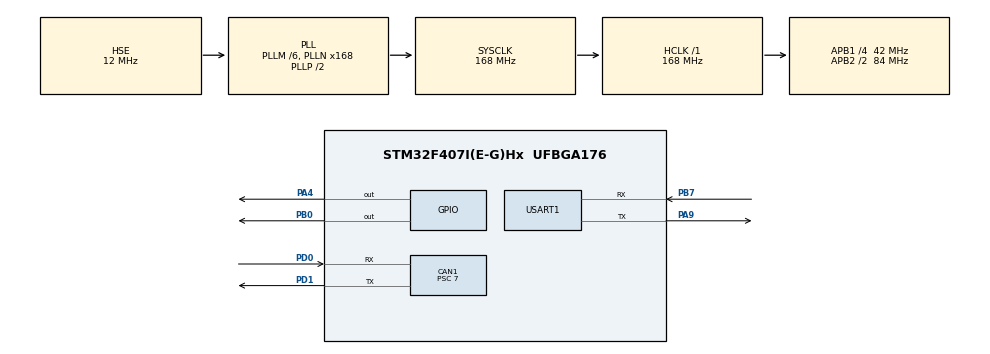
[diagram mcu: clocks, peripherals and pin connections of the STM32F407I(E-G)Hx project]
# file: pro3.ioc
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CAN1.BS1=CAN_BS1_2TQ
CAN1.BS2=CAN_BS2_3TQ
CAN1.CalculateBaudRate=999999
CAN1.CalculateTimeBit=1000
CAN1.CalculateTimeQuantum=166.66666666666669
CAN1.Prescaler=7
Mcu.Family=STM32F4
Mcu.Name=STM32F407I(E-G)Hx
Mcu.Package=UFBGA176
NVIC.CAN1_RX0_IRQn=true\:0\:0\:false\:false\:true\:true\:true\:true
NVIC.PriorityGroup=NVIC_PRIORITYGROUP_4
NVIC.USART1_IRQn=true\:0\:0\:false\:false\:true\:true\:true\:true
PA13.Mode=Serial_Wire
PA13.Signal=SYS_JTMS-SWDIO
PA14.Mode=Serial_Wire
PA14.Signal=SYS_JTCK-SWCLK
PA4.GPIO_ModeDefaultOutputPP=GPIO_MODE_OUTPUT_PP
PA4.GPIO_PuPd=GPIO_NOPULL
PA4.PinState=GPIO_PIN_SET
PA4.Signal=GPIO_Output
PA9.Mode=Asynchronous
PA9.Signal=USART1_TX
PB0.PinState=GPIO_PIN_SET
PB0.Signal=GPIO_Output
PB7.Mode=Asynchronous
PB7.Signal=USART1_RX
PD0.Mode=CAN_Activate
PD0.Signal=CAN1_RX
PD1.Mode=CAN_Activate
PD1.Signal=CAN1_TX
PH0-OSC_IN.Mode=HSE-External-Oscillator
PH0-OSC_IN.Signal=RCC_OSC_IN
PH1-OSC_OUT.Mode=HSE-External-Oscillator
PH1-OSC_OUT.Signal=RCC_OSC_OUT
ProjectManager.HeapSize=0x200
ProjectManager.StackSize=0x400
ProjectManager.TargetToolchain=MDK-ARM V5.32
RCC.48MHZClocksFreq_Value=84000000
RCC.AHBFreq_Value=168000000
RCC.APB1CLKDivider=RCC_HCLK_DIV4
RCC.APB1Freq_Value=42000000
RCC.APB1TimFreq_Value=84000000
RCC.APB2CLKDivider=RCC_HCLK_DIV2
RCC.APB2Freq_Value=84000000
RCC.APB2TimFreq_Value=168000000
RCC.CortexFreq_Value=168000000
RCC.HCLKFreq_Value=168000000
RCC.HSE_VALUE=12000000
RCC.HSI_VALUE=16000000
RCC.LSE_VALUE=32768
RCC.PLLM=6
RCC.PLLN=168
RCC.PLLSourceVirtual=RCC_PLLSOURCE_HSE
RCC.SYSCLKFreq_VALUE=168000000
RCC.SYSCLKSource=RCC_SYSCLKSOURCE_PLLCLK
RCC.VCOOutputFreq_Value=336000000
USART1.VirtualMode=VM_ASYNC
board=custom

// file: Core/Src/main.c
/* USER CODE BEGIN Header */
/**
  ******************************************************************************
  * @file           : main.c
  * @brief          : Main program body
  ******************************************************************************
  * @attention
  *
  * Copyright (c) 2025 STMicroelectronics.
  * All rights reserved.
  *
  * This software is licensed under terms that can be found in the LICENSE file
  * in the root directory of this software component.
  * If no LICENSE file comes with this software, it is provided AS-IS.
  *
  ******************************************************************************
  */
/* USER CODE END Header */
#include "main.h"

/* USER CODE BEGIN Includes */
#include <string.h>
#include <stdio.h>
#include "MotorRM3508Drive.h"
#include "RM3508_motor_contral.h"
/* USER CODE END Includes */

CAN_HandleTypeDef hcan1;

UART_HandleTypeDef huart1;

/* USER CODE BEGIN PV */
/*
CAN_TxHeaderTypeDef tx_header_motor;
uint8_t tx_data[8] = {0};
uint32_t tx_mailbox;
*/
uint16_t torque=0;
uint8_t rx_data;
uint16_t speed = 100;
float angle=0.0f;
char usart_send[100]="66";
/*
CAN_RxHeaderTypeDef rx_header_motor[4]={0};
uint8_t rx_date[8];
struct rx_date_motor_struct{float angle;uint16_t rpm;uint16_t current;uint8_t temperture;} motor_rx_date;
CAN_FilterTypeDef sFilterConfig;
*/
/* USER CODE END PV */

void SystemClock_Config(void);
static void MX_GPIO_Init(void);
static void MX_CAN1_Init(void);
static void MX_USART1_UART_Init(void);

/* USER CODE BEGIN 0 */
/*
void HAL_CAN_RxFifo0MsgPendingCallback(CAN_HandleTypeDef *hcan)
{
	uint8_t rx_date[8];
	if(HAL_CAN_GetRxMessage(hcan,CAN_RX_FIFO0,&rx_header_motor[0],rx_date)==HAL_OK){
		motor_rx_date.angle = ((rx_date[0]<<8) | rx_date[1])/8191.0f;
		motor_rx_date.current= (rx_date[2]<<8) | rx_date[3];
		motor_rx_date.rpm= (rx_date[4]<<8) | rx_date[5];
		motor_rx_date.temperture= rx_date[6];
		char usart_send[100];
		sprintf(usart_send,"%.2f,%d,%d,%d\n",motor_rx_date.angle,motor_rx_date.rpm,motor_rx_date.current,motor_rx_date.temperture);
		HAL_UART_Transmit(&huart1,(uint8_t*)usart_send,strlen(usart_send),100);
	}
}
*/
void motor_rm3508_MSgPendingCallback(struct rx_date_motor_rm3508_struct rx_date,CAN_HandleTypeDef *hcan)
{

		sprintf(usart_send,"%.2f,%d,%d,%d\n",rx_date.angle,rx_date.rpm,rx_date.current,rx_date.temperture);

}

void HAL_UART_RxCpltCallback(UART_HandleTypeDef *huart)
{
  // Process the received data
  if (huart->Instance == USART1) {
    /*
    float rev_date=rx_data[0]<<24 | rx_data[1]<<16 | rx_data[2]<<8 | rx_data[3];
    char flag=rx_data[4];
    if (flag==0xA4) {
      // If the flag is 0xA4, it indicates a request to set speed
      speed = (uint16_t)rev_date; // Convert received float to uint16_t
    }else{
    receive_date(rev_date, flag); // Call the function to process the received data
   */
    angle= (float)(rx_data) / 100.0f; // Convert received byte to angle
    }
  HAL_UART_Receive_IT(&huart1, &rx_data,1);
}

/* USER CODE END 0 */

int main(void)
{

  /* MCU Configuration--------------------------------------------------------*/

  /* Reset of all peripherals, Initializes the Flash interface and the Systick. */
  HAL_Init();

  /* Configure the system clock */
  SystemClock_Config();

  /* Initialize all configured peripherals */
  MX_GPIO_Init();
  MX_CAN1_Init();
  MX_USART1_UART_Init();
  /* USER CODE BEGIN 2 */
  HAL_CAN_Start(&hcan1);
  HAL_GPIO_WritePin(GPIOH,GPIO_PIN_4,GPIO_PIN_SET);

  //配置电机帧头信息
  // motor_RM3508_tx_header(tx_header_motor);

  //接受电机数据的帧头信息
  //int temp=0;
  //while (temp<4) {
  // motor_RM3508_each_rx_header(rx_header_motor[temp],temp);
  //  temp++;
  //}
  motor_RM3508_Init(&hcan1,0);
  //配置CAN滤波器
  //motor_RM3508_sFilterConfig(sFilterConfig);
  //启动过滤器
  //HAL_CAN_ConfigFilter(&hcan1, &sFilterConfig);
  //启动中断
  //HAL_CAN_ActivateNotification(&hcan1,CAN_IT_RX_FIFO0_MSG_PENDING);
  HAL_UART_Receive_IT(&huart1,&rx_data, 1); // Start receiving data via UART
  RM3508_PID_Motor_Init();
  /* USER CODE END 2 */

  /* Infinite loop */
  /* USER CODE BEGIN WHILE */
  uint16_t count=0;

  while (1)
  {
    /*
	  //使电机正反转
	  while(torque<1000)
	  {
		  torque+=50;
		  moter_rm3508_tx_massage(torque,0,0,0);
		  /*tx_data[0] = torque>>8;
		  tx_data[1] = torque;
  		  HAL_CAN_AddTxMessage(&hcan1,&tx_header_motor,tx_data,&tx_mailbox);

		  HAL_Delay(50);
	  }
	  while(torque>-1000)
	  {
		  torque-=50;
		  moter_rm3508_tx_massage(torque,0,0,0);
		  /*
		  tx_data[0] = torque>>8;
		  tx_data[1] = torque;
  		  HAL_CAN_AddTxMessage(&hcan1,&tx_header_motor,tx_data,&tx_mailbox);

		  HAL_Delay(50);
	  }
    */
   // Example speed value
   /*
  if(count==10)
  {
    count=0;
    angle+=0.1f; // Increment angle by 0.1 radians
    if(angle>1.0f)
    {
      angle=0.0f; // Reset angle if it exceeds 1.0 radians
    }
  }
  */
	if(count==5000)
	{
		count=0;
		angle+=0.25;
		if(angle>=1)
		{
			angle-=1;
		}
	}
    count++;
   HAL_UART_Transmit(&huart1,(uint8_t*)usart_send,strlen(usart_send),HAL_MAX_DELAY);
   //RM3508_Motor_SetSpeed(&speed); // Set the speed for the motor
   RM3508_Motor_SetAngle(angle);
   HAL_Delay(1); // Delay to allow the motor to adjust speed
    /* USER CODE END WHILE */

  }
}

void SystemClock_Config(void)
{
  RCC_OscInitTypeDef RCC_OscInitStruct = {0};
  RCC_ClkInitTypeDef RCC_ClkInitStruct = {0};

  /** Configure the main internal regulator output voltage
  */
  __HAL_RCC_PWR_CLK_ENABLE();
  __HAL_PWR_VOLTAGESCALING_CONFIG(PWR_REGULATOR_VOLTAGE_SCALE1);

  /** Initializes the RCC Oscillators according to the specified parameters
  * in the RCC_OscInitTypeDef structure.
  */
  RCC_OscInitStruct.OscillatorType = RCC_OSCILLATORTYPE_HSE;
  RCC_OscInitStruct.HSEState = RCC_HSE_ON;
  RCC_OscInitStruct.PLL.PLLState = RCC_PLL_ON;
  RCC_OscInitStruct.PLL.PLLSource = RCC_PLLSOURCE_HSE;
  RCC_OscInitStruct.PLL.PLLM = 6;
  RCC_OscInitStruct.PLL.PLLN = 168;
  RCC_OscInitStruct.PLL.PLLP = RCC_PLLP_DIV2;
  RCC_OscInitStruct.PLL.PLLQ = 4;
  if (HAL_RCC_OscConfig(&RCC_OscInitStruct) != HAL_OK)
  {
    Error_Handler();
  }

  /** Initializes the CPU, AHB and APB buses clocks
  */
  RCC_ClkInitStruct.ClockType = RCC_CLOCKTYPE_HCLK|RCC_CLOCKTYPE_SYSCLK
                              |RCC_CLOCKTYPE_PCLK1|RCC_CLOCKTYPE_PCLK2;
  RCC_ClkInitStruct.SYSCLKSource = RCC_SYSCLKSOURCE_PLLCLK;
  RCC_ClkInitStruct.AHBCLKDivider = RCC_SYSCLK_DIV1;
  RCC_ClkInitStruct.APB1CLKDivider = RCC_HCLK_DIV4;
  RCC_ClkInitStruct.APB2CLKDivider = RCC_HCLK_DIV2;

  if (HAL_RCC_ClockConfig(&RCC_ClkInitStruct, FLASH_LATENCY_5) != HAL_OK)
  {
    Error_Handler();
  }
}

static void MX_CAN1_Init(void)
{

  hcan1.Instance = CAN1;
  hcan1.Init.Prescaler = 7;
  hcan1.Init.Mode = CAN_MODE_NORMAL;
  hcan1.Init.SyncJumpWidth = CAN_SJW_1TQ;
  hcan1.Init.TimeSeg1 = CAN_BS1_2TQ;
  hcan1.Init.TimeSeg2 = CAN_BS2_3TQ;
  hcan1.Init.TimeTriggeredMode = DISABLE;
  hcan1.Init.AutoBusOff = DISABLE;
  hcan1.Init.AutoWakeUp = DISABLE;
  hcan1.Init.AutoRetransmission = DISABLE;
  hcan1.Init.ReceiveFifoLocked = DISABLE;
  hcan1.Init.TransmitFifoPriority = DISABLE;
  if (HAL_CAN_Init(&hcan1) != HAL_OK)
  {
    Error_Handler();
  }

}

static void MX_USART1_UART_Init(void)
{

  huart1.Instance = USART1;
  huart1.Init.BaudRate = 115200;
  huart1.Init.WordLength = UART_WORDLENGTH_8B;
  huart1.Init.StopBits = UART_STOPBITS_1;
  huart1.Init.Parity = UART_PARITY_NONE;
  huart1.Init.Mode = UART_MODE_TX_RX;
  huart1.Init.HwFlowCtl = UART_HWCONTROL_NONE;
  huart1.Init.OverSampling = UART_OVERSAMPLING_16;
  if (HAL_UART_Init(&huart1) != HAL_OK)
  {
    Error_Handler();
  }

}

static void MX_GPIO_Init(void)
{
  GPIO_InitTypeDef GPIO_InitStruct = {0};

  /* GPIO Ports Clock Enable */
  __HAL_RCC_GPIOA_CLK_ENABLE();
  __HAL_RCC_GPIOB_CLK_ENABLE();
  __HAL_RCC_GPIOD_CLK_ENABLE();
  __HAL_RCC_GPIOH_CLK_ENABLE();

  /*Configure GPIO pin Output Level */
  HAL_GPIO_WritePin(GPIOA, GPIO_PIN_4, GPIO_PIN_SET);

  /*Configure GPIO pin Output Level */
  HAL_GPIO_WritePin(GPIOB, GPIO_PIN_0, GPIO_PIN_SET);

  /*Configure GPIO pin : PA4 */
  GPIO_InitStruct.Pin = GPIO_PIN_4;
  GPIO_InitStruct.Mode = GPIO_MODE_OUTPUT_PP;
  GPIO_InitStruct.Pull = GPIO_NOPULL;
  GPIO_InitStruct.Speed = GPIO_SPEED_FREQ_LOW;
  HAL_GPIO_Init(GPIOA, &GPIO_InitStruct);

  /*Configure GPIO pin : PB0 */
  GPIO_InitStruct.Pin = GPIO_PIN_0;
  GPIO_InitStruct.Mode = GPIO_MODE_OUTPUT_PP;
  GPIO_InitStruct.Pull = GPIO_NOPULL;
  GPIO_InitStruct.Speed = GPIO_SPEED_FREQ_LOW;
  HAL_GPIO_Init(GPIOB, &GPIO_InitStruct);

}

void Error_Handler(void)
{
  __disable_irq();
  while (1)
  {
  }
}
